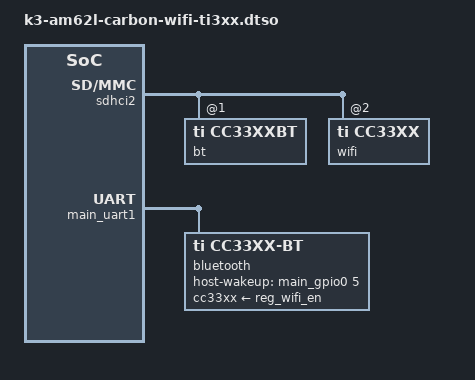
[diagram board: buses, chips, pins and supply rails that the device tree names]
// SPDX-License-Identifier: (GPL-2.0+ OR MIT)
/*
 * Copyright 2024 Ezurio
 */

/dts-v1/;
/plugin/;

#include <dt-bindings/gpio/gpio.h>
#include <dt-bindings/interrupt-controller/irq.h>

#include "k3-pinctrl.h"

&reg_wifi_en {
	startup-delay-us = <10000>;
	off-on-delay-us = <100>;
};

&main_wifi_wake_default {
	pinctrl-single,pins = <
		AM62LX_IOPAD(0x018c, PIN_INPUT_PULLDOWN, 7) /* SDIO_WAKE# (B9) MCASP0_AXR0.GPIO0_82 */
	>;
};

&main_bt_wake_pins_default {
	pinctrl-single,pins = <
		AM62LX_IOPAD(0x0050, PIN_INPUT_PULLDOWN, 7) /* BT_HOST_WAKE (E23) OSPI0_D2.GPIO0_5 */
	>;
};

&sdhci2 { /* SDIO_B  WIFI */
	status = "okay";

	cap-power-off-card;

	#address-cells = <1>;
	#size-cells = <0>;

	bt@1 {
		reg = <1>;
		compatible = "ti,cc33xxbt";
	};

	wifi@2 {
		reg = <2>;
		compatible = "ti,cc33xx";

		pinctrl-names = "default";
		pinctrl-0 = <&main_wifi_wake_default>;
		//interrupts-extended = <&main_gpio0 82 IRQ_TYPE_EDGE_RISING>;
	};
};

&main_uart1 {
 	status = "okay";

	bluetooth {
		compatible = "ti,cc33xx-bt";
		cc33xx-supply = <&reg_wifi_en>;
		max-speed = <115200>;

		pinctrl-names = "default";
		pinctrl-0 = <&main_bt_wake_pins_default>;
		host-wakeup-gpios = <&main_gpio0 5 GPIO_ACTIVE_HIGH>;
	};
};
